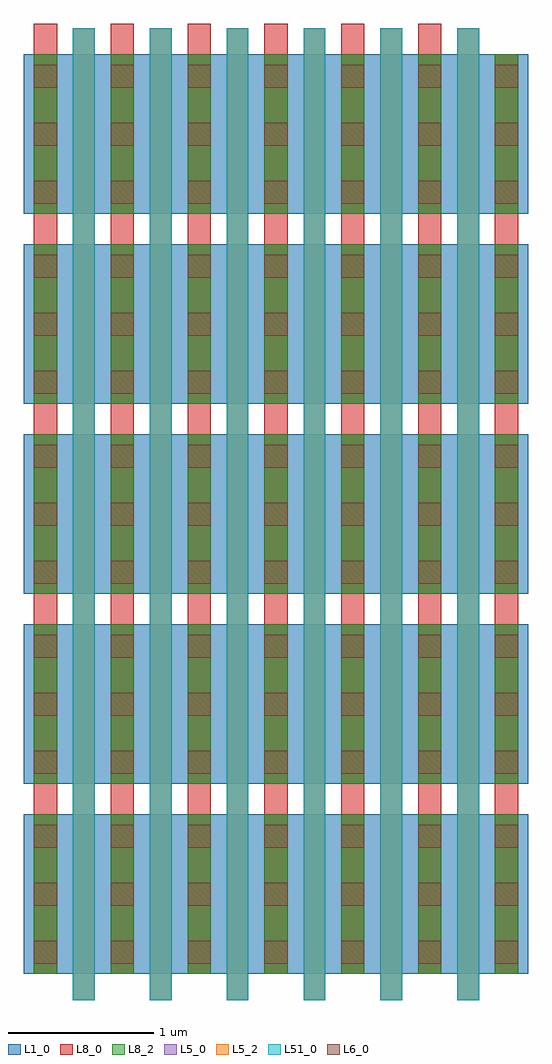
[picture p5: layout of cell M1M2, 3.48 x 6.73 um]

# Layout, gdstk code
import gdstk
lib = gdstk.Library(unit=1e-6, precision=1e-09)
def R(c, l, rs):  # rectangles x0, y0, x1, y1
    for r in rs: c.add(gdstk.rectangle(r[:2], r[2:], *l))
def A(c, l, x, y, w, h, nx, ny, dx, dy):  # array of equal rectangles
    R(c, l, [(x+i*dx, y+j*dy, x+i*dx+w, y+j*dy+h) for i in range(nx) for j in range(ny)])
L1_0 = (1, 0)
L5_0 = (5, 0)
L5_2 = (5, 2)
L6_0 = (6, 0)
L8_0 = (8, 0)
L8_2 = (8, 2)
L51_0 = (51, 0)

nmos_1 = lib.new_cell('nmos$1')
R(nmos_1, L1_0, [(0,0,0.3,0.3), (0,0,0.83,1.1), (0.53,0,0.83,0.3)])
R(nmos_1, L5_0, [(0.34,-0.18,0.49,1.28)])
R(nmos_1, L5_2, [(0.34,-0.18,0.49,1.28)])
A(nmos_1, L6_0, 0.07, 0.07, 0.16, 0.16, 1, 3, 0, 0.4)
A(nmos_1, L6_0, 0.6, 0.07, 0.16, 0.16, 1, 3, 0, 0.4)
R(nmos_1, L8_0, [(0.07,0,0.23,1.1), (0.6,0,0.76,1.1)])
R(nmos_1, L8_2, [(0.07,0,0.23,1.1), (0.6,0,0.76,1.1)])
R(nmos_1, L51_0, [(0.34,-0.18,0.49,1.28)])
nmos_1.add(gdstk.Label('nmos', (0.415,0.55), layer=63, texttype=0))
nmos_1.add(gdstk.Label('nmos', (0.415,0.55), layer=51, texttype=0))

m1m2 = lib.new_cell('M1M2')
A(m1m2, L8_0, 2.825, 0.97, 0.16, 0.21, 1, 4, 0, 1.31)
A(m1m2, L8_0, -0.355, 6.21, 0.16, 0.21, 6, 1, 0.53, 0)
R(m1m2, L8_0, [(-0.355,0.97,-0.195,1.18), (0.175,0.97,0.335,1.18), (0.175,0.97,0.335,1.18), (0.175,0.97,0.335,1.18), (0.705,0.97,0.865,1.18), (0.705,0.97,0.865,1.18), (0.705,0.97,0.865,1.18), (1.235,0.97,1.395,1.18), (1.235,0.97,1.395,1.18), (1.235,0.97,1.395,1.18), (1.765,0.97,1.925,1.18), (1.765,0.97,1.925,1.18), (1.765,0.97,1.925,1.18), (2.295,0.97,2.455,1.18), (2.295,0.97,2.455,1.18), (2.295,0.97,2.455,1.18), (-0.355,2.28,-0.195,2.49), (-0.355,2.28,-0.195,2.49), (-0.355,2.28,-0.195,2.49), (0.175,2.28,0.335,2.49), (0.175,2.28,0.335,2.49), (0.175,2.28,0.335,2.49), (0.705,2.28,0.865,2.49), (0.705,2.28,0.865,2.49), (0.705,2.28,0.865,2.49), (1.235,2.28,1.395,2.49), (1.235,2.28,1.395,2.49), (1.235,2.28,1.395,2.49), (1.765,2.28,1.925,2.49), (1.765,2.28,1.925,2.49), (1.765,2.28,1.925,2.49), (2.295,2.28,2.455,2.49), (2.295,2.28,2.455,2.49), (2.295,2.28,2.455,2.49), (-0.355,3.59,-0.195,3.8), (-0.355,3.59,-0.195,3.8), (-0.355,3.59,-0.195,3.8), (0.175,3.59,0.335,3.8), (0.175,3.59,0.335,3.8), (0.175,3.59,0.335,3.8), (0.705,3.59,0.865,3.8), (0.705,3.59,0.865,3.8), (0.705,3.59,0.865,3.8), (1.235,3.59,1.395,3.8), (1.235,3.59,1.395,3.8), (1.235,3.59,1.395,3.8), (1.765,3.59,1.925,3.8), (1.765,3.59,1.925,3.8), (1.765,3.59,1.925,3.8), (2.295,3.59,2.455,3.8), (2.295,3.59,2.455,3.8), (2.295,3.59,2.455,3.8), (-0.355,4.9,-0.195,5.11), (-0.355,4.9,-0.195,5.11), (-0.355,4.9,-0.195,5.11), (0.175,4.9,0.335,5.11), (0.175,4.9,0.335,5.11), (0.175,4.9,0.335,5.11), (0.705,4.9,0.865,5.11), (0.705,4.9,0.865,5.11), (0.705,4.9,0.865,5.11), (1.235,4.9,1.395,5.11), (1.235,4.9,1.395,5.11), (1.235,4.9,1.395,5.11), (1.765,4.9,1.925,5.11), (1.765,4.9,1.925,5.11), (1.765,4.9,1.925,5.11), (2.295,4.9,2.455,5.11), (2.295,4.9,2.455,5.11), (2.295,4.9,2.455,5.11)])
r = gdstk.Reference(nmos_1, (-0.425,-0.13)); r.repetition = gdstk.Repetition(6, 5, v1=(0.53,0), v2=(0,1.31)); m1m2.add(r)

lib.write_gds('M1M2.gds')
